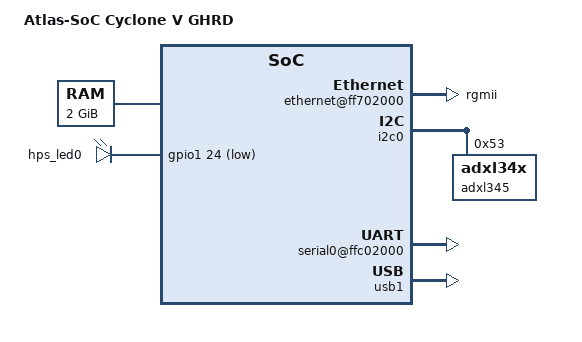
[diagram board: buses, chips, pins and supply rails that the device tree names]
/*
 * Copyright Altera Corporation (C) 2014. All rights reserved.
 *
 * This program is free software; you can redistribute it and/or modify
 * it under the terms and conditions of the GNU General Public License,
 * version 2, as published by the Free Software Foundation.
 *
 * This program is distributed in the hope it will be useful, but WITHOUT
 * ANY WARRANTY; without even the implied warranty of MERCHANTABILITY or
 * FITNESS FOR A PARTICULAR PURPOSE.  See the GNU General Public License for
 * more details.
 *
 * You should have received a copy of the GNU General Public License along with
 * this program.  If not, see <http://www.gnu.org/licenses/>.
 */

/dts-v1/;
/include/ "socfpga.dtsi"
/include/ "socfpga_cyclone5_atlas_socdk_fpga.dtsi"

/ {
	model = "Atlas-SoC Cyclone V GHRD";
	compatible = "altr,socfpga-cyclone5", "altr,socfpga";

	chosen {
		bootargs = "console=ttyS0,115200 root=/dev/mmcblk0p2 rw rootwait";
	};

	memory {
		name = "memory";
		device_type = "memory";
		reg = <0x0 0x80000000>; 
	};

	aliases {
		/* this allow the ethaddr uboot environmnet variable contents
		 * to be added to the gmac1 device tree blob.
		 */
		ethernet0 = &gmac1;
	};

	soc {
		
		clkmgr@ffd04000 {
			clocks {
				osc1 {
					clock-frequency = <25000000>;
				};
				osc2 {
					clock-frequency = <25000000>;
				};
			};
		};

		dwmmc0@ff704000 {
			num-slots = <1>;
			supports-highspeed;
			broken-cd;
			altr,dw-mshc-ciu-div = <3>;
			altr,dw-mshc-sdr-timing = <0 3>;

			slot@0 {
				reg = <0>;
				bus-width = <4>;
			};
		};

		ethernet@ff702000 {
			phy-mode = "rgmii";
			phy-addr = <0xffffffff>; /* probe for phy addr */
			status = "okay";
		};

		gpio@ff708000 {
			status = "okay";
		};

		gpio@ff709000 {
			status = "okay";
		};

		gpio@ff70a000 {
			status = "okay";
		};

		i2c0: i2c@ffc04000 {
			speed-mode = <0>;
			status = "okay";
			
			adxl345: adxl345@0 {
				compatible = "adxl34x";
				reg = <0x53>;
				interrupt-parent = <&intc>;
				interrupts = <46 2 4>;
			};
		};

		serial0@ffc02000 {
			status = "okay";
		};

		sysmgr@ffd08000 {
			cpu1-start-addr = <0xffd080c4>;
		};

		usb1: usb@ffb40000 {
			status = "okay";
		};

		watchdog0: wd@ffd02000 {
			status = "okay";
		};
		
		leds {
			compatible = "gpio-leds";
			hps0 {
				label = "hps_led0";
				gpios = <&gpio1 24 1>;
				linux,default-trigger = "heartbeat";
			};

		};
	};
};
